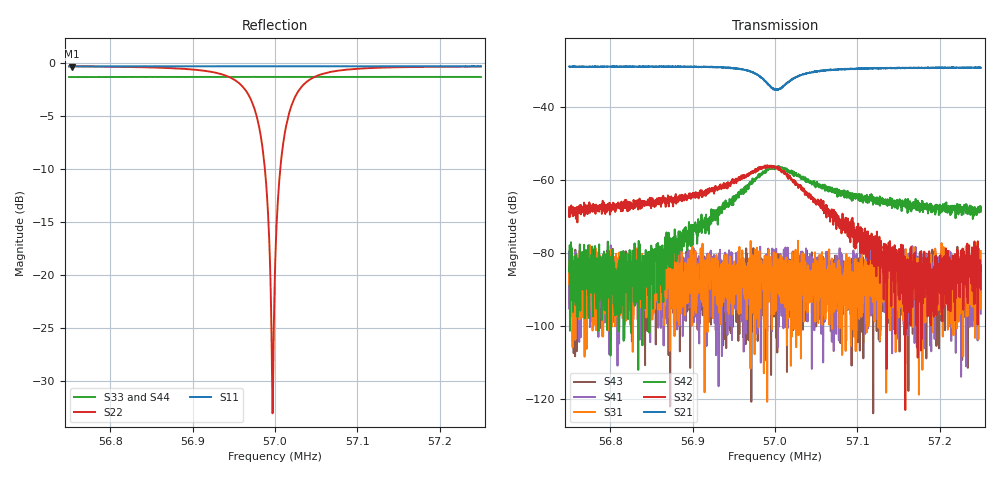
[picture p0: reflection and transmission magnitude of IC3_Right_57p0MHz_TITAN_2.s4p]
#  HZ  S  DB  R  50.00
! Rohde & Schwarz Vector Network Analyzer
! Rohde-Schwarz,ZNB8-4Port,1311601044102961,2.82
! Created: UTC 2/8/2019, 3:07:29 PM
! freq[Hz]  db:S11  ang:S11  db:S12  ang:S12  db:S13  ang:S13  db:S14  ang:S14
!  db:S21  ang:S21  db:S22  ang:S22  db:S23  ang:S23  db:S24  ang:S24
!  db:S31  ang:S31  db:S32  ang:S32  db:S33  ang:S33  db:S34  ang:S34
!  db:S41  ang:S41  db:S42  ang:S42  db:S43  ang:S43  db:S44  ang:S44
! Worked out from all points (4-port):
!   2001 points, 56.75 MHz to 57.25 MHz, reference 50 ohm
!   strongest paths, dB at 56.75 MHz, 56.875 MHz, 57 MHz, 57.125 MHz, 57.25 MHz:
!     S21: -28.9, -28.9, -35.0, -29.4, -29.2
!     S32: -67.5, -64.9, -56.6, -77.6, -90.0
!     S42: -85.1, -77.1, -56.9, -66.4, -68.6
!     S31: -84.7, -84.2, -89.4, -93.6, -79.5
!     S41: -79.5, -85.0, -79.9, -98.3, -96.6
!     S43: -86.1, -83.4, -94.0, -86.4, -86.5
!   lowest |S11| = -0.4 dB at 56.7535 MHz (marker M1), VSWR 47.93, Z = 2.8 + j64.9 ohm
!   |S11| at or under -10 dB: nowhere
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5.675e7  -0.36 75.2  -28.89 62.9  -88.63 -50.7  -80.11 19.1
         -28.91 63.2  -0.34 -128.5  -67.94 -149.7  -81.70 -125.3
         -84.73 24.0  -67.45 -155.0  -1.35 23.3  -93.63 88.1
         -79.52 -51.5  -85.07 -145.7  -86.06 -159.8  -1.37 30.2
5.67535e7  -0.36 75.2  -28.94 62.8  -91.67 -128.1  -87.95 -51.4
           -28.86 63.5  -0.34 -128.8  -68.29 -151.4  -82.34 179.5
           -91.10 32.2  -68.98 -141.7  -1.35 23.3  -84.51 -27.2
           -84.67 147.2  -92.99 -3.7  -84.18 33.2  -1.36 30.1
5.6964e7  -0.34 71.7  -29.83 38.9  -96.27 -50.0  -85.65 73.5
          -29.86 39.4  -2.57 -175.7  -58.98 176.2  -62.83 -11.2
          -83.48 59.2  -58.90 175.1  -1.35 20.7  -90.00 -33.4
          -90.19 -134.1  -63.23 -10.6  -88.17 143.8  -1.35 27.6
5.6997e7  -0.35 71.2  -34.76 43.2  -84.03 -110.9  -88.50 113.6
          -34.91 43.1  -33.05 51.5  -55.85 125.2  -56.63 -58.8
          -86.62 -45.2  -56.27 126.7  -1.35 20.3  -90.56 -120.6
          -81.48 140.1  -56.45 -58.8  -89.30 26.9  -1.36 27.2
5.703075e7  -0.34 70.6  -31.37 70.5  -84.83 -147.4  -82.20 -171.0
            -31.34 69.9  -2.42 -99.7  -62.71 75.0  -59.22 -116.1
            -83.91 -63.3  -61.77 68.3  -1.34 19.9  -90.64 -43.0
            -86.85 86.6  -58.69 -113.4  -81.62 -100.5  -1.35 26.8
5.712375e7  -0.34 69.1  -29.42 57.2  -89.22 -36.0  -80.37 125.6
            -29.42 57.7  -0.48 -133.5  -82.22 58.4  -64.77 -141.2
            -87.87 68.0  -74.12 22.8  -1.34 18.8  -94.72 -25.2
            -84.36 70.8  -64.74 -149.0  -80.03 69.5  -1.35 25.7
5.725e7  -0.34 67.0  -29.20 50.3  -92.48 -92.1  -84.84 4.3
         -29.24 49.3  -0.36 -147.6  -81.08 -142.6  -68.71 -155.8
         -79.46 70.1  -89.99 -158.4  -1.35 17.2  -91.66 -7.4
         -96.62 162.3  -68.62 -144.4  -86.46 -149.0  -1.35 24.1
